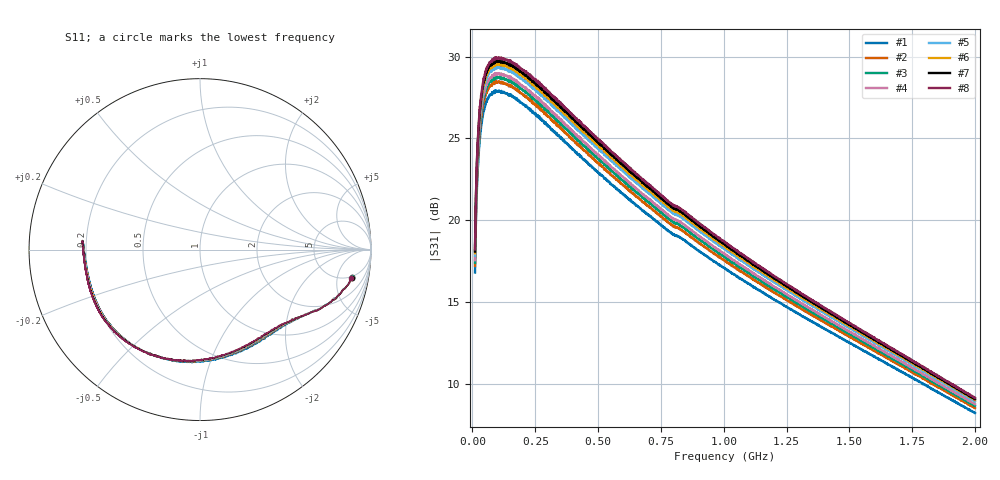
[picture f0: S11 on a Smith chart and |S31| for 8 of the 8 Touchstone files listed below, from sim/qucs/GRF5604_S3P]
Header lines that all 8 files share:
!Keysight Technologies,N5244B,MY57181157,A.18.40.03
!Correction: S11(C  3-Port  )
!S12(C  3-Port  )
!S13(C  3-Port  )
!S21(C  3-Port  )
!S22(C  3-Port  )
!S23(C  3-Port  )
!S31(C  3-Port  )
!S32(C  3-Port  )
!S33(C  3-Port  )
!S3P File: Measurements: <S11,S12,S13>,
!<S21,S22,S23>,
!<S31,S32,S33>:
# Hz S  RI  R 50
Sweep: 10 MHz to 2 GHz
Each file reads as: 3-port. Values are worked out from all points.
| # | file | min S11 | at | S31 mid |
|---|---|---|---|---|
| 1 | GRF5604_DC2322_Vcc12_2p5v_225mA_Vbias5v_P1RFin_P2Vcc1_P3Vcc2_RFout.s3p | -3.9 dB | 136 MHz | 17.1 dB at 1.005 GHz |
| 2 | GRF5604_DC2322_Vcc12_3p0v_227mA_Vbias5v_P1RFin_P2Vcc1_P3Vcc2_RFout.s3p | -4.0 dB | 136 MHz | 17.5 dB at 1.005 GHz |
| 3 | GRF5604_DC2322_Vcc12_3p3v_230mA_Vbias5v_P1RFin_P2Vcc1_P3Vcc2_RFout.s3p | -4.0 dB | 136 MHz | 17.8 dB at 1.005 GHz |
| 4 | GRF5604_DC2322_Vcc12_3p6v_234mA_Vbias5v_P1RFin_P2Vcc1_P3Vcc2_RFout.s3p | -4.0 dB | 136 MHz | 17.9 dB at 1.005 GHz |
| 5 | GRF5604_DC2322_Vcc12_4p2v_238mA_Vbias5v_P1RFin_P2Vcc1_P3Vcc2_RFout.s3p | -4.1 dB | 136 MHz | 18.2 dB at 1.005 GHz |
| 6 | GRF5604_DC2322_Vcc12_4p6v_242mA_Vbias5v_P1RFin_P2Vcc1_P3Vcc2_RFout.s3p | -4.1 dB | 136 MHz | 18.4 dB at 1.005 GHz |
| 7 | GRF5604_DC2322_Vcc12_5p0v_246mA_Vbias5v_P1RFin_P2Vcc1_P3Vcc2_RFout.s3p | -4.2 dB | 136 MHz | 18.5 dB at 1.005 GHz |
| 8 | GRF5604_DC2322_Vcc12_5p5v_250mA_Vbias5v_P1RFin_P2Vcc1_P3Vcc2_RFout.s3p | -4.2 dB | 136 MHz | 18.7 dB at 1.005 GHz |
